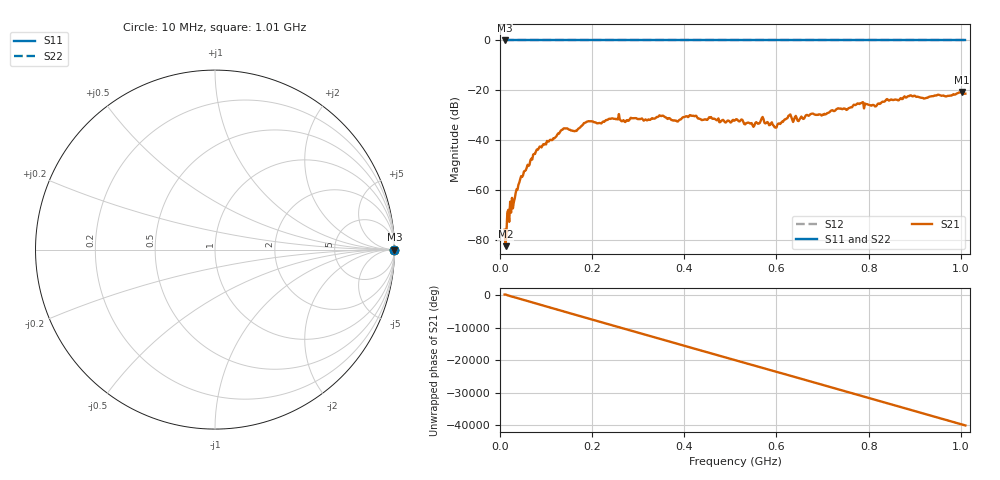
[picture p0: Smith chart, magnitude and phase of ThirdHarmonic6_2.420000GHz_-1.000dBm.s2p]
! 8/17/2025 4:07:21 AM
! C:\ANRITSUVNA\TEMP\TEMP.S2P
! CHANNEL.1
! TR.MEASUREMENT
! RAW.DATA
! RF.CORRECTION.OFF
! AVERAGING.OFF
! IF.BANDWIDTH: 5KHZ
! SWEEPTYPE:  FREQ.SWEEP(Linear)
! Reference Plane Port Info
! PORT:  PORT1  PORT2
! DISTANCE:  0  m  0  m
! TIME:  0  s  0  s
! PHASE.OFFSET:  0  deg.  0  deg.
! LOSS:  0  dB  0  dB
! REF.LOSS:  0  dB  0  dB
! REF.FREQ:  0  Hz  0  Hz
! Power Info
! POWER:  -20  dBm  -20  dBm
! EFF.POWER:  -20  dBm  -20  dBm
! SOURCE.ATTEN:  0  dB  0  dB
! TEST.ATTEN:  0  dB  0  dB
# GHZ S RI R 50.0
! FREQ.GHZ  S11RE  S11IM  S21RE  S21IM  S12RE  S12IM  S22RE  S22IM
!; PortSelection: Port_12
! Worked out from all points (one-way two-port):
!   501 points, 10 MHz to 1.01 GHz, reference 50 ohm
!   highest |S21| = -20.65 dB at 1.002 GHz (marker M1); lowest = -82.3 dB at 12 MHz (marker M2)
!   lowest |S11| = 0.0 dB at 10 MHz (marker M3)
!   |S11| at or under -10 dB: nowhere
!   |S22| runs from 0.0 to 0.0 dB; largest |S21 - S12| = 1.1
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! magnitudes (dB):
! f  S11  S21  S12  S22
! 10 MHz  0.0  -75.7  0.0  0.0
! 12 MHz  0.0  -82.3  0.0  0.0
! 20 MHz  0.0  -72.6  0.0  0.0
! 44 MHz  0.0  -55.4  0.0  0.0
! 76 MHz  0.0  -45.4  0.0  0.0
! 136 MHz  0.0  -35.6  0.0  0.0
! 162 MHz  0.0  -36.3  0.0  0.0
! 178 MHz  0.0  -34.1  0.0  0.0
! 240 MHz  0.0  -31.4  0.0  0.0
! 344 MHz  0.0  -30.4  0.0  0.0
! 382 MHz  0.0  -32.0  0.0  0.0
! 416 MHz  0.0  -30.1  0.0  0.0
! 510 MHz  0.0  -32.0  0.0  0.0
! 548 MHz  0.0  -33.9  0.0  0.0
! 570 MHz  0.0  -30.6  0.0  0.0
! 598 MHz  0.0  -34.9  0.0  0.0
! 628 MHz  0.0  -29.9  0.0  0.0
! 648 MHz  0.0  -32.3  0.0  0.0
! 678 MHz  0.0  -29.3  0.0  0.0
! 844 MHz  0.0  -24.1  0.0  0.0
! 1.002 GHz  0.0  -20.6  0.0  0.0
! 1.01 GHz  0.0  -21.3  0.0  0.0
